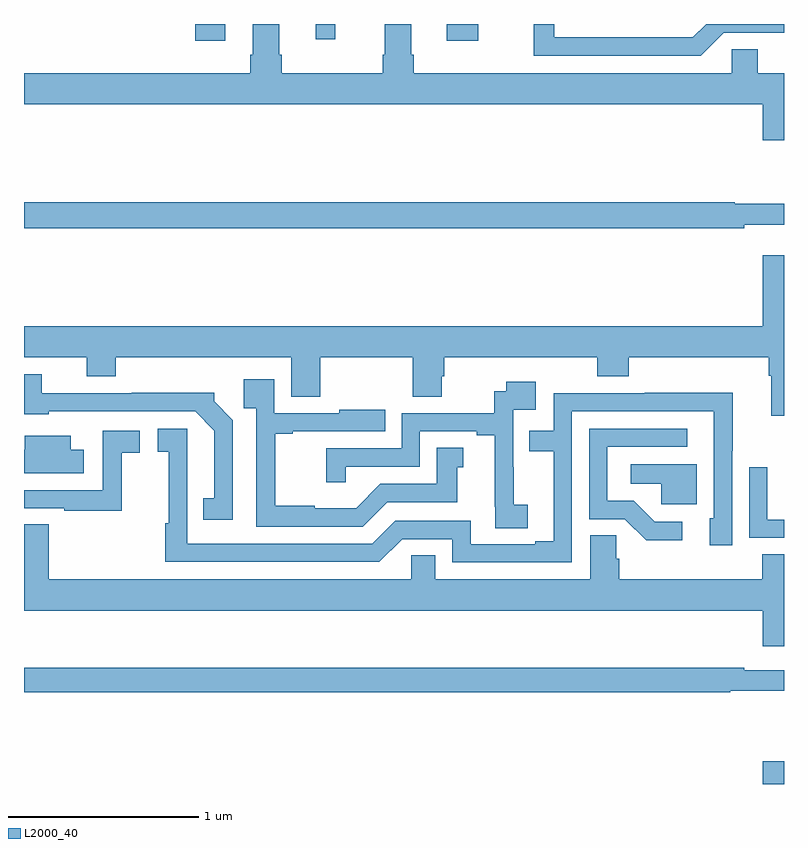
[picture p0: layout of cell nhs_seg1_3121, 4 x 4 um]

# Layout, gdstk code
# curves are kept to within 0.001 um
import gdstk
lib = gdstk.Library(unit=1e-6, precision=1e-09)
def R(c, l, rs):  # rectangles x0, y0, x1, y1
    for r in rs: c.add(gdstk.rectangle(r[:2], r[2:], *l))
def P(c, l, *ps):  # polygons
    for p in ps: c.add(gdstk.Polygon(p, *l))
L2000_40 = (2000, 40)

nhs_seg1_3121 = lib.new_cell('nhs_seg1_3121')
R(nhs_seg1_3121, L2000_40, [(284.888,504.199,285,504.319), (281.9,508.11,282.058,508.199), (283.226,508.11,283.392,508.199), (282.536,508.119,282.638,508.199)])
P(nhs_seg1_3121, L2000_40, [(285,507.94),(284.863,507.94),(284.863,508.067),(284.724,508.067),(284.724,507.94),(283.052,507.94),(283.052,508.036),(283.039,508.036),(283.039,508.199),(282.899,508.199),(282.899,508.036),(282.887,508.036),(282.887,507.94),(282.356,507.94),(282.356,508.036),(282.343,508.036),(282.343,508.199),(282.203,508.199),(282.203,508.036),(282.191,508.036),(282.191,507.94),(281,507.94),(281,507.776),(284.888,507.776),(284.888,507.588),(285,507.588)],
  [(284.682,508.152),(285,508.152),(285,508.199),(284.591,508.199),(284.52,508.128),(283.791,508.128),(283.791,508.199),(283.683,508.199),(283.683,508.032),(284.562,508.032)],
  [(284.792,507.143),(285,507.143),(285,507.253),(284.741,507.253),(284.741,507.26),(281,507.26),(281,507.124),(284.792,507.124)],
  [(281,506.444),(281.33,506.444),(281.33,506.345),(281.483,506.345),(281.483,506.444),(282.407,506.444),(282.407,506.236),(282.56,506.236),(282.56,506.444),(283.046,506.444),(283.046,506.236),(283.198,506.236),(283.198,506.346),(283.211,506.346),(283.211,506.444),(284.018,506.444),(284.018,506.345),(284.183,506.345),(284.183,506.444),(284.921,506.444),(284.921,506.348),(284.933,506.348),(284.933,506.137),(285,506.137),(285,506.983),(284.888,506.983),(284.888,506.608),(281,506.608)],
  [(282.099,506.114),(282,506.213),(282,506.258),(281.566,506.258),(281.566,506.256),(281.094,506.256),(281.094,506.355),(281,506.355),(281,506.144),(281.13,506.144),(281.13,506.16),(281.901,506.16),(282.002,506.059),(282.002,505.703),(281.944,505.703),(281.944,505.59),(282.099,505.59)],
  [(282.912,505.683),(283.279,505.683),(283.279,505.867),(283.312,505.867),(283.312,505.97),(283.172,505.97),(283.172,505.779),(282.876,505.779),(282.748,505.651),(282.53,505.651),(282.53,505.663),(282.323,505.663),(282.323,506.043),(282.415,506.043),(282.415,506.055),(282.902,506.055),(282.902,506.17),(282.659,506.17),(282.659,506.151),(282.318,506.151),(282.318,506.329),(282.157,506.329),(282.157,506.177),(282.222,506.177),(282.222,505.554),(282.783,505.554)],
  [(283.651,505.668),(283.577,505.668),(283.577,505.865),(283.575,505.865),(283.575,506.169),(283.693,506.169),(283.693,506.317),(283.537,506.317),(283.537,506.265),(283.474,506.265),(283.474,506.151),(282.987,506.151),(282.987,505.965),(282.592,505.965),(282.592,505.788),(282.693,505.788),(282.693,505.869),(283.083,505.869),(283.083,506.055),(283.382,506.055),(283.382,506.035),(283.478,506.035),(283.478,505.657),(283.48,505.657),(283.48,505.546),(283.651,505.546)],
  [(283.884,506.16),(284.631,506.16),(284.631,505.599),(284.609,505.599),(284.609,505.455),(284.727,505.455),(284.727,505.954),(284.729,505.954),(284.729,506.258),(284.266,506.258),(284.266,506.256),(283.788,506.256),(283.788,506.058),(283.66,506.058),(283.66,505.95),(283.787,505.95),(283.787,505.476),(283.691,505.476),(283.691,505.461),(283.35,505.461),(283.35,505.584),(282.954,505.584),(282.834,505.464),(281.859,505.464),(281.86,506.068),(281.703,506.068),(281.703,505.947),(281.761,505.947),(281.761,505.571),(281.743,505.571),(281.743,505.368),(282.87,505.368),(282.99,505.488),(283.254,505.488),(283.254,505.365),(283.884,505.365)],
  [(284.464,505.578),(284.319,505.578),(284.208,505.689),(284.07,505.689),(284.07,505.974),(284.491,505.974),(284.491,506.07),(283.974,506.07),(283.974,505.593),(284.163,505.593),(284.276,505.481),(284.464,505.481)],
  [(281.514,505.942),(281.608,505.942),(281.608,506.058),(281.415,506.058),(281.415,505.746),(281,505.746),(281,505.65),(281.212,505.65),(281.212,505.638),(281.514,505.638)],
  [(281.314,505.957),(281.245,505.957),(281.245,506.032),(281.003,506.032),(281.003,505.957),(281,505.957),(281,505.835),(281.314,505.835)],
  [(284.542,505.882),(284.193,505.882),(284.193,505.778),(284.355,505.778),(284.355,505.671),(284.542,505.671)],
  [(285,505.59),(284.913,505.59),(284.913,505.867),(284.817,505.867),(284.817,505.494),(285,505.494)],
  [(285,505.409),(284.885,505.409),(284.885,505.276),(284.132,505.276),(284.132,505.385),(284.118,505.385),(284.118,505.508),(283.979,505.508),(283.979,505.276),(283.165,505.276),(283.165,505.403),(283.038,505.403),(283.038,505.276),(281.129,505.276),(281.129,505.565),(281,505.565),(281,505.112),(284.888,505.112),(284.888,504.924),(285,504.924)],
  [(284.716,504.69),(285,504.69),(285,504.798),(284.792,504.798),(284.792,504.811),(281,504.811),(281,504.682),(284.716,504.682)])

lib.write_gds('nhs_seg1_3121.gds')
